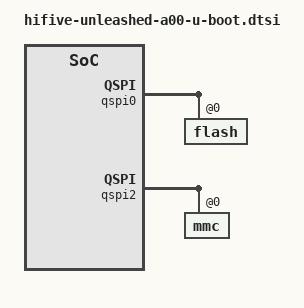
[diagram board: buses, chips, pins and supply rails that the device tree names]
// SPDX-License-Identifier: (GPL-2.0 OR MIT)
/*
 * Copyright (C) 2019 Jagan Teki <jagan@amarulasolutions.com>
 */

#include "binman.dtsi"
#include "fu540-c000-u-boot.dtsi"
#include "fu540-hifive-unleashed-a00-ddr.dtsi"

/ {
	aliases {
		cpu1 = &cpu1;
		cpu2 = &cpu2;
		cpu3 = &cpu3;
		cpu4 = &cpu4;
		spi0 = &qspi0;
		spi2 = &qspi2;
	};

	config {
		u-boot,spl-payload-offset = <0x105000>; /* loader2 @1044KB */
	};

	memory@80000000 {
		bootph-pre-ram;
	};

	hfclk {
		bootph-pre-ram;
	};

	rtcclk {
		bootph-pre-ram;
	};

};

&clint {
	clocks = <&rtcclk>;
};

&qspi0 {
	bootph-pre-ram;

	flash@0 {
		bootph-pre-ram;
	};
};

&qspi2 {
	mmc@0 {
		bootph-pre-ram;
	};
};

&gpio {
	bootph-pre-ram;
};
